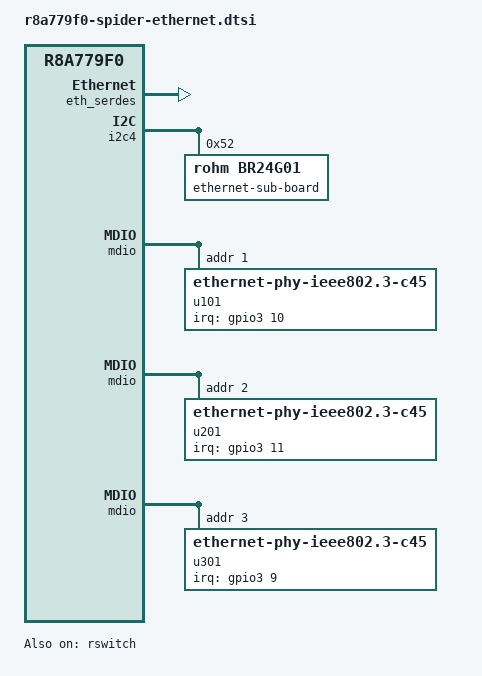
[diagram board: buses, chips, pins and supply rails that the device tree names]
// SPDX-License-Identifier: GPL-2.0
/*
 * Device Tree Source for the Spider Ethernet sub-board
 *
 * Copyright (C) 2021 Renesas Electronics Corp.
 */

&eth_serdes {
	status = "okay";
};

&i2c4 {
	eeprom@52 {
		compatible = "rohm,br24g01", "atmel,24c01";
		label = "ethernet-sub-board";
		reg = <0x52>;
		pagesize = <8>;
	};
};

&pfc {
	tsn0_pins: tsn0 {
		groups = "tsn0_mdio_b", "tsn0_link_b";
		function = "tsn0";
		power-source = <1800>;
	};

	tsn1_pins: tsn1 {
		groups = "tsn1_mdio_b", "tsn1_link_b";
		function = "tsn1";
		power-source = <1800>;
	};

	tsn2_pins: tsn2 {
		groups = "tsn2_mdio_b", "tsn2_link_b";
		function = "tsn2";
		power-source = <1800>;
	};
};

&rswitch {
	pinctrl-0 = <&tsn0_pins>, <&tsn1_pins>, <&tsn2_pins>;
	pinctrl-names = "default";
	status = "okay";

	ethernet-ports {
		#address-cells = <1>;
		#size-cells = <0>;

		port@0 {
			reg = <0>;
			phy-handle = <&u101>;
			phy-mode = "sgmii";
			phys = <&eth_serdes 0>;

			mdio {
				#address-cells = <1>;
				#size-cells = <0>;

				u101: ethernet-phy@1 {
					reg = <1>;
					compatible = "ethernet-phy-ieee802.3-c45";
					interrupts-extended = <&gpio3 10 IRQ_TYPE_LEVEL_LOW>;
				};
			};
		};
		port@1 {
			reg = <1>;
			phy-handle = <&u201>;
			phy-mode = "sgmii";
			phys = <&eth_serdes 1>;

			mdio {
				#address-cells = <1>;
				#size-cells = <0>;

				u201: ethernet-phy@2 {
					reg = <2>;
					compatible = "ethernet-phy-ieee802.3-c45";
					interrupts-extended = <&gpio3 11 IRQ_TYPE_LEVEL_LOW>;
				};
			};
		};
		port@2 {
			reg = <2>;
			phy-handle = <&u301>;
			phy-mode = "sgmii";
			phys = <&eth_serdes 2>;

			mdio {
				#address-cells = <1>;
				#size-cells = <0>;

				u301: ethernet-phy@3 {
					reg = <3>;
					compatible = "ethernet-phy-ieee802.3-c45";
					interrupts-extended = <&gpio3 9 IRQ_TYPE_LEVEL_LOW>;
				};
			};
		};
	};
};
